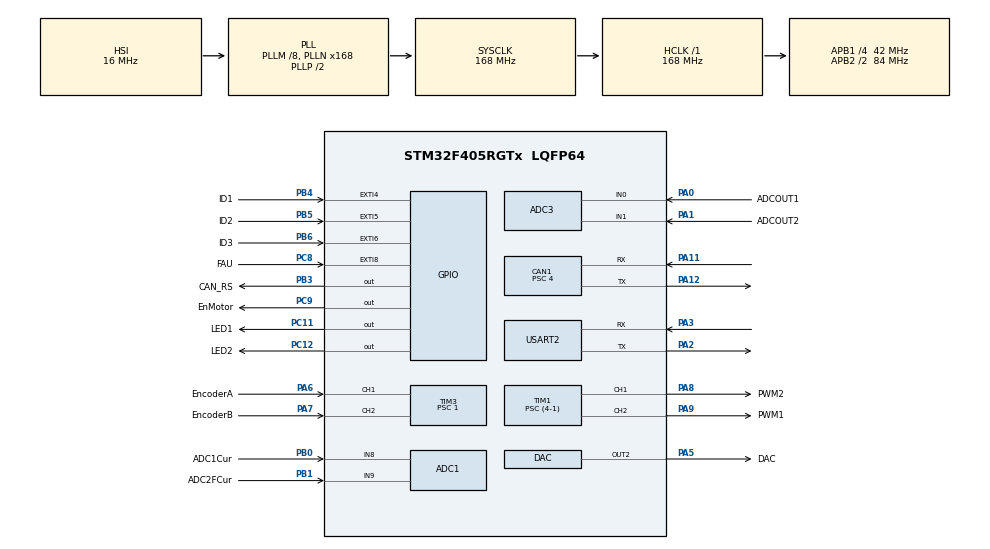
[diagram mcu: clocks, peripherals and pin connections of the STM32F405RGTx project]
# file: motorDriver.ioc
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ADC1.Channel-0\#ChannelRegularConversion=ADC_CHANNEL_8
ADC1.Channel-1\#ChannelRegularConversion=ADC_CHANNEL_9
ADC1.EOCSelection=ADC_EOC_SINGLE_CONV
ADC1.NbrOfConversion=2
ADC1.NbrOfConversionFlag=1
ADC1.Rank-0\#ChannelRegularConversion=1
ADC1.Rank-1\#ChannelRegularConversion=2
ADC1.SamplingTime-0\#ChannelRegularConversion=ADC_SAMPLETIME_144CYCLES
ADC1.SamplingTime-1\#ChannelRegularConversion=ADC_SAMPLETIME_144CYCLES
ADC1.master=1
ADC3.Channel-0\#ChannelRegularConversion=ADC_CHANNEL_0
ADC3.Channel-1\#ChannelRegularConversion=ADC_CHANNEL_1
ADC3.EOCSelection=ADC_EOC_SINGLE_CONV
ADC3.InjNumberOfConversion=0
ADC3.NbrOfConversion=2
ADC3.NbrOfConversionFlag=1
ADC3.Rank-0\#ChannelRegularConversion=1
ADC3.Rank-1\#ChannelRegularConversion=2
ADC3.SamplingTime-0\#ChannelRegularConversion=ADC_SAMPLETIME_480CYCLES
ADC3.SamplingTime-1\#ChannelRegularConversion=ADC_SAMPLETIME_480CYCLES
CAN1.ABOM=DISABLE
CAN1.BS1=CAN_BS1_12TQ
CAN1.BS2=CAN_BS2_8TQ
CAN1.CalculateTimeQuantum=95.23809523809524
CAN1.Prescaler=4
Mcu.Family=STM32F4
Mcu.Name=STM32F405RGTx
Mcu.Package=LQFP64
NVIC.CAN1_RX0_IRQn=true\:2\:0\:true\:false\:true\:true\:true
NVIC.EXTI4_IRQn=true\:1\:0\:true\:false\:true\:true\:true
NVIC.EXTI9_5_IRQn=true\:1\:0\:true\:false\:true\:true\:true
NVIC.PriorityGroup=NVIC_PRIORITYGROUP_2
NVIC.TIM3_IRQn=true\:1\:0\:true\:false\:true\:true\:true
NVIC.TIM8_TRG_COM_TIM14_IRQn=true\:3\:1\:true\:false\:true\:true\:true
NVIC.USART2_IRQn=true\:1\:2\:true\:false\:true\:true\:true
PA0-WKUP.GPIO_Label=ADCOUT1
PA0-WKUP.Signal=ADCx_IN0
PA1.GPIO_Label=ADCOUT2
PA1.Signal=ADCx_IN1
PA11.Mode=Master
PA11.Signal=CAN1_RX
PA12.Mode=Master
PA12.Signal=CAN1_TX
PA13.Mode=Serial_Wire
PA13.Signal=SYS_JTMS-SWDIO
PA14.Mode=Serial_Wire
PA14.Signal=SYS_JTCK-SWCLK
PA2.Mode=Asynchronous
PA2.Signal=USART2_TX
PA3.Mode=Asynchronous
PA3.Signal=USART2_RX
PA5.GPIO_Label=DAC
PA5.Signal=COMP_DAC2_group
PA6.GPIO_Label=EncoderA
PA6.Signal=S_TIM3_CH1
PA7.GPIO_Label=EncoderB
PA7.Signal=S_TIM3_CH2
PA8.GPIO_Label=PWM2
PA8.Signal=S_TIM1_CH1
PA9.GPIO_Label=PWM1
PA9.Signal=S_TIM1_CH2
PB0.GPIO_Label=ADC1Cur
PB0.Signal=ADCx_IN8
PB1.GPIO_Label=ADC2FCur
PB1.Signal=ADCx_IN9
PB3.GPIO_Label=CAN_RS
PB3.GPIO_PuPd=GPIO_NOPULL
PB3.GPIO_Speed=GPIO_SPEED_FREQ_MEDIUM
PB3.PinState=GPIO_PIN_RESET
PB3.Signal=GPIO_Output
PB4.GPIO_Label=ID1
PB4.GPIO_PuPd=GPIO_PULLUP
PB4.Signal=GPXTI4
PB5.GPIO_Label=ID2
PB5.GPIO_PuPd=GPIO_PULLUP
PB5.Signal=GPXTI5
PB6.GPIO_Label=ID3
PB6.GPIO_PuPd=GPIO_PULLUP
PB6.Signal=GPXTI6
PC11.GPIO_Label=LED1
PC11.Signal=GPIO_Output
PC12.GPIO_Label=LED2
PC12.Signal=GPIO_Output
PC8.GPIO_Label=FAU
PC8.GPIO_ModeDefaultEXTI=GPIO_MODE_IT_FALLING
PC8.Signal=GPXTI8
PC9.GPIO_Label=EnMotor
PC9.GPIO_Speed=GPIO_SPEED_FREQ_MEDIUM
PC9.PinState=GPIO_PIN_RESET
PC9.Signal=GPIO_Output
PH0-OSC_IN.Mode=HSE-External-Oscillator
PH0-OSC_IN.Signal=RCC_OSC_IN
PH1-OSC_OUT.Mode=HSE-External-Oscillator
PH1-OSC_OUT.Signal=RCC_OSC_OUT
ProjectManager.HeapSize=0x200
ProjectManager.StackSize=0x400
ProjectManager.TargetToolchain=MDK-ARM V5
RCC.48MHZClocksFreq_Value=84000000
RCC.AHBFreq_Value=168000000
RCC.APB1CLKDivider=RCC_HCLK_DIV4
RCC.APB1Freq_Value=42000000
RCC.APB1TimFreq_Value=84000000
RCC.APB2CLKDivider=RCC_HCLK_DIV2
RCC.APB2Freq_Value=84000000
RCC.APB2TimFreq_Value=168000000
RCC.CortexFreq_Value=168000000
RCC.HCLKFreq_Value=168000000
RCC.HSE_VALUE=8000000
RCC.HSI_VALUE=16000000
RCC.LSE_VALUE=32768
RCC.PLLM=8
RCC.PLLN=168
RCC.SYSCLKFreq_VALUE=168000000
RCC.SYSCLKSource=RCC_SYSCLKSOURCE_PLLCLK
RCC.VCOOutputFreq_Value=336000000
SH.ADCx_IN0.0=ADC3_IN0,IN0
SH.ADCx_IN1.0=ADC3_IN1,IN1
SH.ADCx_IN8.0=ADC1_IN8,IN8
SH.ADCx_IN9.0=ADC1_IN9,IN9
SH.COMP_DAC2_group.0=DAC_OUT2,DAC_OUT2
SH.S_TIM1_CH1.0=TIM1_CH1,PWM Generation1 CH1
SH.S_TIM1_CH2.0=TIM1_CH2,PWM Generation2 CH2
SH.S_TIM3_CH1.0=TIM3_CH1,Encoder_Interface
SH.S_TIM3_CH2.0=TIM3_CH2,Encoder_Interface
TIM1.Channel-PWM\ Generation1\ CH1=TIM_CHANNEL_1
TIM1.Channel-PWM\ Generation2\ CH2=TIM_CHANNEL_2
TIM1.OCMode_PWM-PWM\ Generation1\ CH1=TIM_OCMODE_PWM2
TIM1.OCMode_PWM-PWM\ Generation2\ CH2=TIM_OCMODE_PWM2
TIM1.Period=1000
TIM1.Prescaler=(4-1)
TIM14.Period=500
TIM14.Prescaler=83
TIM3.EncoderMode=TIM_ENCODERMODE_TI12
TIM3.IC1Filter=5
TIM3.IC2Filter=5
TIM3.Period=65535
TIM3.Prescaler=1
USART2.VirtualMode=VM_ASYNC
VP_TIM14_VS_ClockSourceINT.Mode=Enable_Timer
board=custom

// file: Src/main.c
/* USER CODE BEGIN Header */
/**
  ******************************************************************************
  * @file           : main.c
  * @brief          : Main program body
  *	@author			: Mrwang_tju  2019.12.20
  *	@brief			: Motor driver for STM32F405RG
  ******************************************************************************
	BSD 3-Clause License

	Copyright (c) 2019, MrWang
	All rights reserved.

	Redistribution and use in source and binary forms, with or without
	modification, are permitted provided that the following conditions are met:

	1. Redistributions of source code must retain the above copyright notice, this
	   list of conditions and the following disclaimer.

	2. Redistributions in binary form must reproduce the above copyright notice,
	   this list of conditions and the following disclaimer in the documentation
	   and/or other materials provided with the distribution.

	3. Neither the name of the copyright holder nor the names of its
	   contributors may be used to endorse or promote products derived from
	   this software without specific prior written permission.

	THIS SOFTWARE IS PROVIDED BY THE COPYRIGHT HOLDERS AND CONTRIBUTORS "AS IS"
	AND ANY EXPRESS OR IMPLIED WARRANTIES, INCLUDING, BUT NOT LIMITED TO, THE
	IMPLIED WARRANTIES OF MERCHANTABILITY AND FITNESS FOR A PARTICULAR PURPOSE ARE
	DISCLAIMED. IN NO EVENT SHALL THE COPYRIGHT HOLDER OR CONTRIBUTORS BE LIABLE
	FOR ANY DIRECT, INDIRECT, INCIDENTAL, SPECIAL, EXEMPLARY, OR CONSEQUENTIAL
	DAMAGES (INCLUDING, BUT NOT LIMITED TO, PROCUREMENT OF SUBSTITUTE GOODS OR
	SERVICES; LOSS OF USE, DATA, OR PROFITS; OR BUSINESS INTERRUPTION) HOWEVER
	CAUSED AND ON ANY THEORY OF LIABILITY, WHETHER IN CONTRACT, STRICT LIABILITY,
	OR TORT (INCLUDING NEGLIGENCE OR OTHERWISE) ARISING IN ANY WAY OUT OF THE USE
	OF THIS SOFTWARE, EVEN IF ADVISED OF THE POSSIBILITY OF SUCH DAMAGE.
  ******************************************************************************
  */
/* USER CODE END Header */

#include "main.h"
#include "adc.h"
#include "can.h"
#include "dac.h"
#include "tim.h"
#include "usart.h"
#include "gpio.h"

/* USER CODE BEGIN Includes */
#include "stm32f4xx_hal_def.h"
/* USER CODE END Includes */

/* USER CODE BEGIN PTD */
extern uint8_t RXBuffer[1];
extern Motor_t M1;
extern MotorCtrl_t M1Ctrl;
extern float debugData1[DEBUG_DATA_NUM];
extern float debugData2[DEBUG_DATA_NUM];
extern debugStruct_t debugVar;
extern unsigned char debugFLAG;
extern unsigned char gUsartFlag;
long long int gPosTar =0;

unsigned int gErrorStatus;	//全局变量   用来显示错误提示
uint32_t FLASH_Address = 0, PageError = 0;
__IO uint32_t data32 = 0 , MemoryProgramStatus = 0;

unsigned int FLASH_Store[FLASHSIZE];	//修改FLASH时临时存储数组
unsigned int FLASH_Init[FLASHSIZE]={
	1,	//产品型号		1
	01,	//软件版本		2
	00,	//机械结构版本	3
	01,	//电路硬件版本	4

	120,	//Ctrl_P  		5		控制过程P参数
	0,	//Ctrl_I		6
	200,	//Ctrl_D 		7
	10,	//DebugFreq		8		调试状态下的采样频率
	99,//PWM_MAX		9		电机最大pwm
	0,	//PWM_MIN		10		最小pwm
	10,	//PosErr		11
	150,	//				12
	3,	//				13

	0,	//				14

	0,//				15
	0,//				16
	0,//				17
	0,//				18

	0x00,	//HardWare Version	19
	0x00,	//SoftWare Version	20
	0x00,	//HardWare Version	21
	0x00,	//SoftWare Version	22
	0x00,	//HardWare Version	23
	0x00	//SoftWare Version	24
};

/* USER CODE END PTD */

/* USER CODE BEGIN PV */
//CAN_FilterTypeDef  sFilterConfig;
//static CAN_TxHeaderTypeDef        TxMessage;
//static CAN_RxHeaderTypeDef        RxMessage;

#define F407VET6_BOARD_CAN_ID    	  0x001		//CAN通讯的ID
#define SENSOR_BOARD_CAN_ID  	  	  0x79
#define ANOTHER_SENSOR_BOARD_CAN_ID   0x003
#define THIRD_SENSOR_BOARD_CAN_ID  	  0x004

//2个3级深度的FIFO
#define   CAN1FIFO   CAN_RX_FIFO0
#define   CAN2FIFO   CAN_RX_FIFO1  //
CAN_TxHeaderTypeDef     TxMeg;
CAN_RxHeaderTypeDef     RxMeg;
char recvData[20] = {'0'};
extern CAN_HandleTypeDef hcan1;

/* USER CODE END PV */

void SystemClock_Config(void);

int main(void)
{

  /* MCU Configuration--------------------------------------------------------*/

  /* Reset of all peripherals, Initializes the Flash interface and the Systick. */
  HAL_Init();

  /* Configure the system clock */
  SystemClock_Config();

  /* Initialize all configured peripherals */
  MX_GPIO_Init();
  MX_ADC1_Init();
  MX_ADC3_Init();
  MX_CAN1_Init();
  MX_DAC_Init();
  MX_TIM1_Init();
  MX_TIM3_Init();
  MX_TIM14_Init();
  MX_USART2_UART_Init();
  /* USER CODE BEGIN 2 */
  StartUp();
  unsigned int numm,kk;
  char canData[100] = "hello can test success!\n";
  CAN_User_Init(&hcan1);

  HAL_Delay(200);
//  gPosTar = M1.EnCounter-5092300;
//  PlanTraj(gPosTar,70,1);
  /* USER CODE END 2 */

  /* Infinite loop */
  while (1)
  {

    /* USER CODE BEGIN 3 */
	if(gUsartFlag==1)
	{
		gUsartFlag = 0;
		ProtocAnalsis();
	}
	if(debugVar.debugPrintFlag!=0)
	{
		if(debugVar.debugPrintFlag==2)	//开始输出数据
		{
			debugFLAG = 0;
			debugVar.debugPrintFlag = 0;
			//关闭中断
			__disable_irq(); //off INT

			printf("*********输出开始************\n");
			for(numm=0;numm<DEBUG_DATA_NUM;numm++)	{
				printf("     %3d      %6.3f       %6.3f      \n",numm,debugData1[numm],debugData2[numm]);
			}
			printf("*********输出完毕************\n");
			ClearFloatArr(debugData1,DEBUG_DATA_NUM);
			ClearFloatArr(debugData2,DEBUG_DATA_NUM);
			__enable_irq(); // on INT
		}
	}
	/*can发送测试*/
//	CANx_SendNormalData(&hcan1,SENSOR_BOARD_CAN_ID,(uint8_t *)canData,sizeof(canData)/sizeof(char));
//	HAL_Delay(500);
  }
  /* USER CODE END 3 */
}

void SystemClock_Config(void)
{
  RCC_OscInitTypeDef RCC_OscInitStruct = {0};
  RCC_ClkInitTypeDef RCC_ClkInitStruct = {0};

  /** Configure the main internal regulator output voltage
  */
  __HAL_RCC_PWR_CLK_ENABLE();
  __HAL_PWR_VOLTAGESCALING_CONFIG(PWR_REGULATOR_VOLTAGE_SCALE1);
  /** Initializes the CPU, AHB and APB busses clocks
  */
  RCC_OscInitStruct.OscillatorType = RCC_OSCILLATORTYPE_HSI;
  RCC_OscInitStruct.HSIState = RCC_HSI_ON;
  RCC_OscInitStruct.HSICalibrationValue = RCC_HSICALIBRATION_DEFAULT;
  RCC_OscInitStruct.PLL.PLLState = RCC_PLL_ON;
  RCC_OscInitStruct.PLL.PLLSource = RCC_PLLSOURCE_HSI;
  RCC_OscInitStruct.PLL.PLLM = 8;
  RCC_OscInitStruct.PLL.PLLN = 168;
  RCC_OscInitStruct.PLL.PLLP = RCC_PLLP_DIV2;
  RCC_OscInitStruct.PLL.PLLQ = 4;
  if (HAL_RCC_OscConfig(&RCC_OscInitStruct) != HAL_OK)
  {
    Error_Handler();
  }
  /** Initializes the CPU, AHB and APB busses clocks
  */
  RCC_ClkInitStruct.ClockType = RCC_CLOCKTYPE_HCLK|RCC_CLOCKTYPE_SYSCLK
                              |RCC_CLOCKTYPE_PCLK1|RCC_CLOCKTYPE_PCLK2;
  RCC_ClkInitStruct.SYSCLKSource = RCC_SYSCLKSOURCE_PLLCLK;
  RCC_ClkInitStruct.AHBCLKDivider = RCC_SYSCLK_DIV1;
  RCC_ClkInitStruct.APB1CLKDivider = RCC_HCLK_DIV4;
  RCC_ClkInitStruct.APB2CLKDivider = RCC_HCLK_DIV2;

  if (HAL_RCC_ClockConfig(&RCC_ClkInitStruct, FLASH_LATENCY_5) != HAL_OK)
  {
    Error_Handler();
  }
}

/* USER CODE BEGIN 4 */
void StartUp(void)
{
	ParaInit();

	HAL_UART_Receive_IT(&huart2, (uint8_t *)RXBuffer, 1); //打开中断接收

	HAL_DAC_SetValue(&hdac,DAC_CHANNEL_2,DAC_ALIGN_12B_R,4000);	//设置DAC输出
	HAL_DAC_Start(&hdac,DAC1_CHANNEL_2);

	HAL_TIM_Base_Start_IT(&htim3);

	HAL_GPIO_WritePin(EnMotor_GPIO_Port,EnMotor_Pin,GPIO_PIN_SET);
	M1.motor_id = GetID();	//获取当前驱动版ID

	TIM1->CCR1 = 0;
	TIM1->CCR2 = 0;
	HAL_TIM_PWM_Start(&htim1,TIM_CHANNEL_1);
	HAL_TIM_PWM_Start(&htim1,TIM_CHANNEL_2);

	M1.EnCounter = 0;
	M1.EnOverflowNum = 0;
	M1.motorMode = 0;
	M1Ctrl.CtrlLastPWM = 0;
	M1Ctrl.CtrlPWM = 0;

	//中断定时器
	HAL_TIM_Base_Start_IT(&htim14);	//开启500us中断
}

void ParaInit(void)
{
	EncoderClear();

	char mm,Flag_blank = 0;	//FLASH是否为空白  标志
	int Flash_Value;
//	 HAL_StatusTypeDef FlashStatus=HAL_OK;
	FLASH_Address = FLASH_USER_START_ADDR;
	for(mm=0;mm<FLASHSIZE;mm++)	{
			Flash_Value = *(int*)(FLASH_USER_START_ADDR+(mm)*4);
			if((Flash_Value==-1)&&(Flag_blank==0))
				Flag_blank = 0;		//此FLASH区域为空白
			else 	{
				Flag_blank = 1;  //非空白
				break;
			}
		}
	if(Flag_blank==0)	{
		STMFLASH_Write(FLASH_USER_START_ADDR,(u32*)FLASH_Init,FLASHSIZE);
	}
}

void EncoderClear(void)
{
	//结构体初始化
	M1.EnCounter = M1.EnOverflowNum = 0;
	__HAL_TIM_SET_COUNTER(&htim3,0);
	//溢出值需要清零 在打开TIM3中断后会进入一次全局中断
	M1.EnOverflowNum= 0;
}

//清除数组
void ClearFloatArr(float *data,unsigned int len)
{
	while(len--)
	{
		(*data++) = 0;
	}
}

void CAN_User_Init(CAN_HandleTypeDef* hcan)   //用户初始化函数
{
   CAN_FilterTypeDef  sFilterConfig;
   HAL_StatusTypeDef  HAL_Status;

  TxMeg.IDE=CAN_ID_STD;//CAN_ID_EXT;
  TxMeg.RTR=CAN_RTR_DATA;

  sFilterConfig.FilterBank = 0;                       //过滤器0
  sFilterConfig.FilterMode =  CAN_FILTERMODE_IDLIST;  //设为列表模式
  sFilterConfig.FilterScale = CAN_FILTERSCALE_16BIT;
  sFilterConfig.FilterIdHigh = (M1.motor_id)<<5;   //基本ID放入到STID中
  sFilterConfig.FilterIdLow  = SENSOR_BOARD_CAN_ID <<5;

  sFilterConfig.FilterMaskIdHigh =ANOTHER_SENSOR_BOARD_CAN_ID<<5;
  sFilterConfig.FilterMaskIdLow  =THIRD_SENSOR_BOARD_CAN_ID <<5;
  sFilterConfig.FilterFIFOAssignment = CAN1FIFO;    //接收到的报文放入到FIFO0中
  sFilterConfig.FilterActivation = ENABLE;  	//激活过滤器

  sFilterConfig.SlaveStartFilterBank  = 0;

  HAL_Status=HAL_CAN_ConfigFilter(hcan, &sFilterConfig);

  HAL_Status=HAL_CAN_Start(hcan);  //开启CAN

  if(HAL_Status!=HAL_OK){

	printf("开启CAN失败\r\n");

 }

 HAL_Status=HAL_CAN_ActivateNotification(hcan,   CAN_IT_RX_FIFO0_MSG_PENDING);

 if(HAL_Status!=HAL_OK){

	printf("开启挂起中段允许失败\r\n");

  }
}

void HAL_CAN_RxFifo0MsgPendingCallback(CAN_HandleTypeDef *hcan)  //接收回调函数
{
  uint8_t  Data[8];
  HAL_StatusTypeDef	HAL_RetVal;
  if(hcan ==&hcan1){
    HAL_RetVal=HAL_CAN_GetRxMessage(hcan,  CAN1FIFO, &RxMeg,  Data);

    if ( HAL_OK==HAL_RetVal){

		for(int i=0;i<8;++i)
		{
			recvData[i] = Data[i];
			USART2Interrupt(Data[i]);
		}
      //在这里接收数据
    }

  }

}

//发送数据函数

uint8_t CANx_SendNormalData(CAN_HandleTypeDef* hcan,uint16_t ID,uint8_t *pData,uint16_t Len)
{

	HAL_StatusTypeDef	HAL_RetVal;
    uint16_t SendTimes,SendCNT=0;
	uint8_t  FreeTxNum=0;

	TxMeg.StdId=ID;
	if(!hcan || ! pData ||!Len)  return 1;
	SendTimes=Len/8+(Len%8?1:0);
	FreeTxNum=HAL_CAN_GetTxMailboxesFreeLevel(hcan);
	TxMeg.DLC=8;
	while(SendTimes--){

		if(0==SendTimes){

			if(Len%8)

				TxMeg.DLC=Len%8;
		}

		while(0==FreeTxNum){
			FreeTxNum=HAL_CAN_GetTxMailboxesFreeLevel(hcan);
		}
		HAL_Delay(1);   //没有延时很有可能会发送失败

		HAL_RetVal=HAL_CAN_AddTxMessage(hcan,&TxMeg,pData+SendCNT,(uint32_t*)CAN_TX_MAILBOX0);
		if(HAL_RetVal!=HAL_OK)
		{
			return 2;
		}
		SendCNT+=8;
	}

  return 0;
}

/* USER CODE END 4 */

void Error_Handler(void)
{
}

/************************ (C) COPYRIGHT STMicroelectronics *****END OF FILE****/
